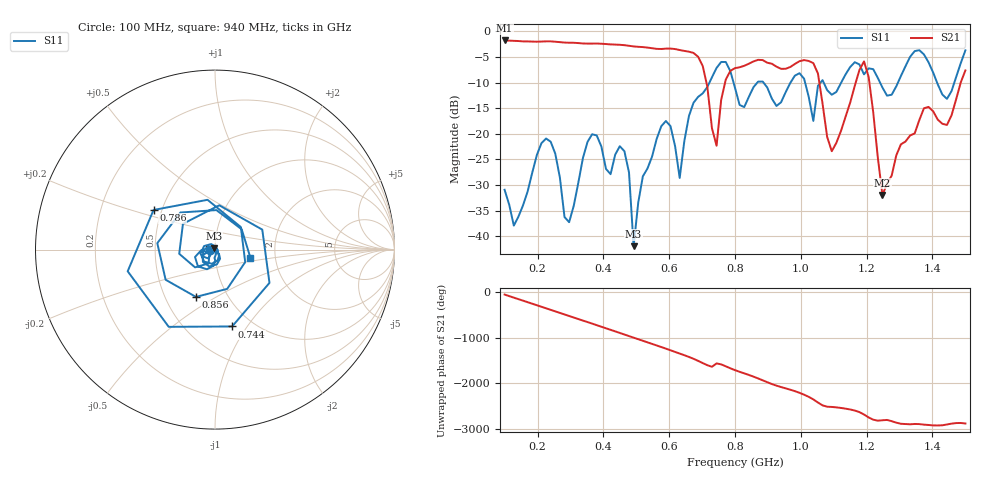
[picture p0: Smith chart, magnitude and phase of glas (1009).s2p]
! NanoVNA-App
! Date: 2025-09-25 16:03:19
! Start: 100MHz Stop: 1,5GHz Points: 101
! S-Parameter data: F S11 S21 S12 S22
# Hz S RI R 50
!  Frequency  S11_Real  S11_Imag  S21_Real  S21_Imag  S12_Real  S12_Imag  S22_Real  S22_Imag
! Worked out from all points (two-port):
!   101 points, 100 MHz to 1.5 GHz, reference 50 ohm
!   highest |S21| = -1.80 dB at 100 MHz (marker M1); lowest = -31.9 dB at 1.248 GHz (marker M2)
!   |S21| within 3 dB of the highest: start of sweep to 684.5 MHz
!   lowest |S11| = -41.9 dB at 492 MHz (marker M3), VSWR 1.02, Z = 49.5 + j0.607 ohm
!   |S11| at or under -10 dB: start of sweep to 722.5 MHz; 795.5 MHz to 867.9 MHz (72.36 MHz wide, 8.7 % of centre); 886.4 MHz to 968.8 MHz (82.4 MHz wide, 8.88 % of centre) (the widest 3 of 7)
!   S12 and S22 are empty: the file has one direction only
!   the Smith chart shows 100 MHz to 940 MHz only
!   S11 on the Smith chart (normalised r, x): 100 MHz: 0.94, -0.01; 744 MHz: 0.81, -0.86; 786 MHz: 0.45, +0.24; 856 MHz: 0.71, -0.41; 940 MHz: 1.48, -0.14
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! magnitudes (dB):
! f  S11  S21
! 100 MHz  -30.9  -1.8
! 128 MHz  -37.9  -1.9
! 226 MHz  -20.9  -2.0
! 296 MHz  -37.2  -2.2
! 338 MHz  -24.7  -2.4
! 464 MHz  -23.4  -2.7
! 492 MHz  -41.9  -3.0
! 576 MHz  -18.5  -3.5
! 632 MHz  -28.6  -3.7
! 702 MHz  -12.1  -6.8
! 744 MHz  -7.2  -22.3
! 786 MHz  -7.8  -7.7
! 800 MHz  -11.0  -7.2
! 856 MHz  -10.9  -5.9
! 940 MHz  -13.9  -7.3
! 996 MHz  -8.2  -5.8
! 1.038 GHz  -17.5  -6.2
! 1.094 GHz  -12.4  -23.4
! 1.192 GHz  -8.4  -5.9
! 1.248 GHz  -11.0  -31.9
! 1.276 GHz  -12.4  -28.2
! 1.5 GHz  -3.7  -7.6
